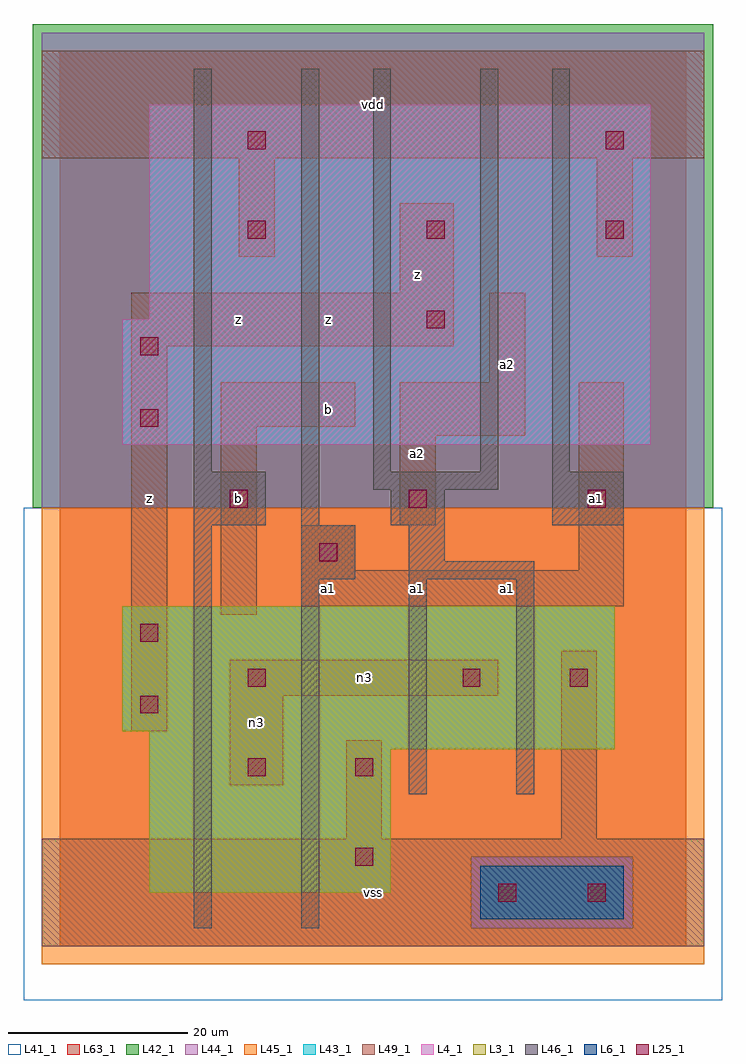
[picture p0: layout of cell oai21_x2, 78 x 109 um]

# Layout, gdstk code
import gdstk
lib = gdstk.Library(unit=1e-6, precision=1e-09)
def R(c, l, rs):  # rectangles x0, y0, x1, y1
    for r in rs: c.add(gdstk.rectangle(r[:2], r[2:], *l))
def A(c, l, x, y, w, h, nx, ny, dx, dy):  # array of equal rectangles
    R(c, l, [(x+i*dx, y+j*dy, x+i*dx+w, y+j*dy+h) for i in range(nx) for j in range(ny)])
L3_1 = (3, 1)
L4_1 = (4, 1)
L6_1 = (6, 1)
L25_1 = (25, 1)
L41_1 = (41, 1)
L42_1 = (42, 1)
L43_1 = (43, 1)
L44_1 = (44, 1)
L45_1 = (45, 1)
L46_1 = (46, 1)
L49_1 = (49, 1)
L63_1 = (63, 1)

oai21_x2 = lib.new_cell('oai21_x2')
R(oai21_x2, L3_1, [(10,6,37,22), (10,22,62,24), (7,24,62,38)])
R(oai21_x2, L4_1, [(7,56,66,70), (10,70,66,94)])
R(oai21_x2, L6_1, [(47,3,63,9)])
A(oai21_x2, L25_1, 19, 49, 2, 2, 3, 1, 20, 0)
A(oai21_x2, L25_1, 21, 79, 2, 2, 3, 1, 20, 0)
R(oai21_x2, L25_1, [(49,5,51,7), (59,5,61,7), (33,9,35,11), (21,19,23,21), (33,19,35,21), (9,26,11,28), (21,29,23,31), (45,29,47,31), (57,29,59,31), (9,34,11,36), (29,43,31,45), (9,58,11,60), (9,66,11,68), (41,69,43,71), (21,89,23,91), (61,89,63,91)])
R(oai21_x2, L41_1, [(-4,-6,74,49), (-3,-3,73,49)])
R(oai21_x2, L42_1, [(-3,49,73,103)])
R(oai21_x2, L43_1, [(47,3,63,9), (10,6,37,22), (10,22,62,24), (7,24,62,38), (7,56,66,70), (10,70,66,94)])
R(oai21_x2, L44_1, [(46,2,64,10), (-2,49,72,102)])
R(oai21_x2, L45_1, [(-2,-2,72,2), (-2,2,46,10), (64,2,72,10), (-2,10,72,49)])
R(oai21_x2, L46_1, [(15,2,17,47), (27,2,29,41), (39,17,41,41), (51,17,53,41), (27,41,33,47), (39,41,53,43), (39,43,43,47), (15,47,23,53), (27,47,29,98), (37,47,43,51), (55,47,63,53), (35,51,49,53), (15,53,17,98), (35,53,37,98), (47,53,49,98), (55,53,57,98)])
R(oai21_x2, L49_1, [(-2,0,72,12), (32,12,36,23), (56,12,60,33), (19,18,25,28), (8,24,12,67), (19,28,49,32), (18,37,22,58), (27,38,63,42), (27,42,33,47), (58,42,63,63), (38,47,42,57), (38,57,52,63), (18,58,33,63), (48,63,52,73), (8,67,44,73), (38,73,44,83), (20,77,24,88), (60,77,64,88), (-2,88,72,100)])
R(oai21_x2, L63_1, [(0,0,70,100)])
oai21_x2.add(gdstk.Label('n3', (22,25), layer=49, texttype=1))
oai21_x2.add(gdstk.Label('z', (10,50), layer=49, texttype=1))
oai21_x2.add(gdstk.Label('z', (10,50), layer=49, texttype=1))
oai21_x2.add(gdstk.Label('b', (20,50), layer=49, texttype=1))
oai21_x2.add(gdstk.Label('b', (20,50), layer=49, texttype=1))
oai21_x2.add(gdstk.Label('z', (20,70), layer=49, texttype=1))
oai21_x2.add(gdstk.Label('z', (20,70), layer=49, texttype=1))
oai21_x2.add(gdstk.Label('vss', (35,6), layer=49, texttype=1))
oai21_x2.add(gdstk.Label('vss', (35,6), layer=49, texttype=1))
oai21_x2.add(gdstk.Label('a1', (30,40), layer=49, texttype=1))
oai21_x2.add(gdstk.Label('a1', (30,40), layer=49, texttype=1))
oai21_x2.add(gdstk.Label('b', (30,60), layer=49, texttype=1))
oai21_x2.add(gdstk.Label('b', (30,60), layer=49, texttype=1))
oai21_x2.add(gdstk.Label('z', (30,70), layer=49, texttype=1))
oai21_x2.add(gdstk.Label('z', (30,70), layer=49, texttype=1))
oai21_x2.add(gdstk.Label('vdd', (35,94), layer=49, texttype=1))
oai21_x2.add(gdstk.Label('vdd', (35,94), layer=49, texttype=1))
oai21_x2.add(gdstk.Label('n3', (34,30), layer=49, texttype=1))
oai21_x2.add(gdstk.Label('a1', (50,40), layer=49, texttype=1))
oai21_x2.add(gdstk.Label('a1', (50,40), layer=49, texttype=1))
oai21_x2.add(gdstk.Label('a1', (40,40), layer=49, texttype=1))
oai21_x2.add(gdstk.Label('a1', (40,40), layer=49, texttype=1))
oai21_x2.add(gdstk.Label('a2', (40,55), layer=49, texttype=1))
oai21_x2.add(gdstk.Label('a2', (40,55), layer=49, texttype=1))
oai21_x2.add(gdstk.Label('z', (40,75), layer=49, texttype=1))
oai21_x2.add(gdstk.Label('z', (40,75), layer=49, texttype=1))
oai21_x2.add(gdstk.Label('a2', (50,65), layer=49, texttype=1))
oai21_x2.add(gdstk.Label('a2', (50,65), layer=49, texttype=1))
oai21_x2.add(gdstk.Label('a1', (60,50), layer=49, texttype=1))
oai21_x2.add(gdstk.Label('a1', (60,50), layer=49, texttype=1))

lib.write_gds('oai21_x2.gds')
